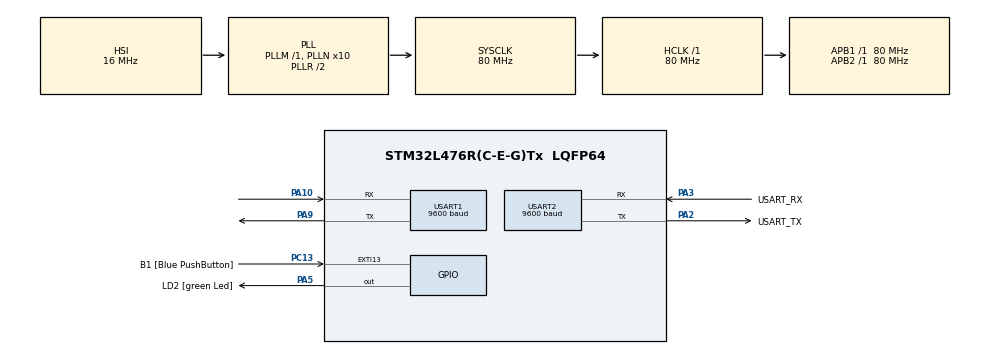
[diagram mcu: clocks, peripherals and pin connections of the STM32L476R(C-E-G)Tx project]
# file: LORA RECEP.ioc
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Mcu.Family=STM32L4
Mcu.Name=STM32L476R(C-E-G)Tx
Mcu.Package=LQFP64
NVIC.PriorityGroup=NVIC_PRIORITYGROUP_4
PA10.Mode=Asynchronous
PA10.Signal=USART1_RX
PA13\ (JTMS-SWDIO).GPIO_Label=TMS
PA13\ (JTMS-SWDIO).Mode=Serial_Wire
PA13\ (JTMS-SWDIO).Signal=SYS_JTMS-SWDIO
PA14\ (JTCK-SWCLK).GPIO_Label=TCK
PA14\ (JTCK-SWCLK).Mode=Serial_Wire
PA14\ (JTCK-SWCLK).Signal=SYS_JTCK-SWCLK
PA2.GPIO_Label=USART_TX
PA2.GPIO_Mode=GPIO_MODE_AF_PP
PA2.GPIO_PuPd=GPIO_NOPULL
PA2.GPIO_Speed=GPIO_SPEED_FREQ_VERY_HIGH
PA2.Mode=Asynchronous
PA2.Signal=USART2_TX
PA3.GPIO_Label=USART_RX
PA3.GPIO_Mode=GPIO_MODE_AF_PP
PA3.GPIO_PuPd=GPIO_NOPULL
PA3.GPIO_Speed=GPIO_SPEED_FREQ_VERY_HIGH
PA3.Mode=Asynchronous
PA3.Signal=USART2_RX
PA5.GPIO_Label=LD2 [green Led]
PA5.GPIO_ModeDefaultOutputPP=GPIO_MODE_OUTPUT_PP
PA5.GPIO_PuPd=GPIO_NOPULL
PA5.GPIO_Speed=GPIO_SPEED_FREQ_LOW
PA5.Signal=GPIO_Output
PA9.Mode=Asynchronous
PA9.Signal=USART1_TX
PB3\ (JTDO-TRACESWO).GPIO_Label=SWO
PB3\ (JTDO-TRACESWO).Signal=SYS_JTDO-SWO
PC13.GPIO_Label=B1 [Blue PushButton]
PC13.GPIO_ModeDefaultEXTI=GPIO_MODE_IT_FALLING
PC13.GPIO_PuPd=GPIO_NOPULL
PC13.Signal=GPXTI13
PC14-OSC32_IN\ (PC14).Mode=LSE-External-Oscillator
PC14-OSC32_IN\ (PC14).Signal=RCC_OSC32_IN
PC15-OSC32_OUT\ (PC15).Mode=LSE-External-Oscillator
PC15-OSC32_OUT\ (PC15).Signal=RCC_OSC32_OUT
PH0-OSC_IN\ (PH0).Signal=RCC_OSC_IN
PH1-OSC_OUT\ (PH1).Signal=RCC_OSC_OUT
ProjectManager.HeapSize=0x200
ProjectManager.StackSize=0x400
ProjectManager.TargetToolchain=STM32CubeIDE
RCC.ADCFreq_Value=64000000
RCC.AHBFreq_Value=80000000
RCC.APB1Freq_Value=80000000
RCC.APB1TimFreq_Value=80000000
RCC.APB2Freq_Value=80000000
RCC.APB2TimFreq_Value=80000000
RCC.CortexFreq_Value=80000000
RCC.HCLKFreq_Value=80000000
RCC.HSE_VALUE=8000000
RCC.HSI_VALUE=16000000
RCC.MSI_VALUE=4000000
RCC.PLLN=10
RCC.PLLSourceVirtual=RCC_PLLSOURCE_HSI
RCC.PREFETCH_ENABLE=1
RCC.SYSCLKFreq_VALUE=80000000
RCC.SYSCLKSource=RCC_SYSCLKSOURCE_PLLCLK
RCC.USBFreq_Value=64000000
RCC.VCOOutputFreq_Value=160000000
USART1.BaudRate=9600
USART1.VirtualMode-Asynchronous=VM_ASYNC
USART2.BaudRate=9600
USART2.VirtualMode-Asynchronous=VM_ASYNC
board=NUCLEO-L476RG

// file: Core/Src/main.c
/* USER CODE BEGIN Header */
/**
  ******************************************************************************
  * @file           : main.c
  * @brief          : Main program body
  ******************************************************************************
  * @attention
  *
  * Copyright (c) 2024 STMicroelectronics.
  * All rights reserved.²
  *
  * This software is licensed under terms that can be found in the LICENSE file
  * in the root directory of this software component.
  * If no LICENSE file comes with this software, it is provided AS-IS.
  *
  ******************************************************************************
  */
/* USER CODE END Header */
#include "main.h"
#include "usart.h"
#include "gpio.h"
#include <string.h>

/* USER CODE BEGIN PTD */

//#define MODE_TRANSMITTER 0
//#define MODE_RECEIVER 1

/* USER CODE END PTD */

void SystemClock_Config(void);

/* USER CODE BEGIN 0 */

char receivedData[1000]; // Pour stocker le caractère reçu

/* USER CODE END 0 */

int main(void)
{

  /* MCU Configuration--------------------------------------------------------*/

  /* Reset of all peripherals, Initializes the Flash interface and the Systick. */
  HAL_Init();

  /* Configure the system clock */
  SystemClock_Config();

  /* Initialize all configured peripherals */
  MX_GPIO_Init();
  MX_USART2_UART_Init();
  MX_USART1_UART_Init();
  /* USER CODE BEGIN 2 */
/*
  // Transmit command to LoRa module
  	  HAL_UART_Transmit(&huart1, (uint8_t*)dataToSend, strlen(dataToSend), 1000);

     // Wait for response from LoRa module
     HAL_UART_Receive(&huart1, (uint8_t*)receivedData, sizeof(receivedData), 1000);

*/

  // Transmit command at to LoRa module
         char dataToSend[] = "AT\r"; // Tableau d'octets à envoyer

  	   	  HAL_UART_Transmit(&huart1, (uint8_t*)dataToSend, strlen(dataToSend), 1000);
  	  // Attente de la réponse à la première commande
  	     HAL_UART_Receive(&huart1, (uint8_t*)receivedData, sizeof(receivedData), 1000);

  	     // Transmission de la réponse reçue à une autre UART (si nécessaire)
  	     HAL_UART_Transmit(&huart2, (uint8_t*)receivedData, strlen(receivedData), 1000);

  	  /*   // Envoi de la deuxième commande "AT+ID"
  	     char secondCommand[] = "AT+ID\r";
  	     HAL_UART_Transmit(&huart1, (uint8_t*)secondCommand, strlen(secondCommand), 1000);

  	     // Attente de la réponse à la deuxième commande (si nécessaire)
  	     HAL_UART_Receive(&huart1, (uint8_t*)receivedData, sizeof(receivedData), 1000);
  	   // Transmission de la réponse reçue à une autre UART (si nécessaire)
  	     HAL_UART_Transmit(&huart2, (uint8_t*)receivedData, strlen(receivedData), 1000);

*/
  	   // Envoi de la 3ème commande "AT+MODE"
  	    char thirdCommand[] = "AT+MODE=TEST\r";
  	    HAL_UART_Transmit(&huart1, (uint8_t*)thirdCommand, strlen(thirdCommand), 1000);

  	    // Attente de la réponse à la 3ième commande (si nécessaire)
  	    HAL_UART_Receive(&huart1, (uint8_t*)receivedData, sizeof(receivedData), 1000);
  	    // Transmission de la réponse reçue à une autre UART (si nécessaire)
  	    HAL_UART_Transmit(&huart2, (uint8_t*)receivedData, strlen(receivedData), 1000);

  	  // Envoi de la 4ème commande "AT+MODE"
  	    char fourthCommand[] = "AT+TEST=RXLRPKT\r";
  	    HAL_UART_Transmit(&huart1, (uint8_t*)fourthCommand, strlen(fourthCommand), 1000);

  	   // Attente de la réponse à la 3ième commande (si nécessaire)
  	    HAL_UART_Receive(&huart1, (uint8_t*)receivedData, sizeof(receivedData), 1000);
  	    // Transmission de la réponse reçue à une autre UART (si nécessaire)
  	    HAL_UART_Transmit(&huart2, (uint8_t*)receivedData, strlen(receivedData), 1000);

  /* USER CODE END 2 */

  /* Infinite loop */
  /* USER CODE BEGIN WHILE */
  while (1)
  {
	  // Réception des données
	     HAL_UART_Receive(&huart1, (uint8_t*)receivedData, sizeof(receivedData), HAL_MAX_DELAY);

	     // Traitement des données reçues (vous pouvez afficher les données reçues ou les traiter selon votre application)
	     // Par exemple, afficher les données reçues sur l'UART 2
	     HAL_UART_Transmit(&huart2, (uint8_t*)receivedData, strlen(receivedData), HAL_MAX_DELAY);
	  /* USER CODE END WHILE */

  }
}

void SystemClock_Config(void)
{
  RCC_OscInitTypeDef RCC_OscInitStruct = {0};
  RCC_ClkInitTypeDef RCC_ClkInitStruct = {0};

  /** Configure the main internal regulator output voltage
  */
  if (HAL_PWREx_ControlVoltageScaling(PWR_REGULATOR_VOLTAGE_SCALE1) != HAL_OK)
  {
    Error_Handler();
  }

  /** Initializes the RCC Oscillators according to the specified parameters
  * in the RCC_OscInitTypeDef structure.
  */
  RCC_OscInitStruct.OscillatorType = RCC_OSCILLATORTYPE_HSI;
  RCC_OscInitStruct.HSIState = RCC_HSI_ON;
  RCC_OscInitStruct.HSICalibrationValue = RCC_HSICALIBRATION_DEFAULT;
  RCC_OscInitStruct.PLL.PLLState = RCC_PLL_ON;
  RCC_OscInitStruct.PLL.PLLSource = RCC_PLLSOURCE_HSI;
  RCC_OscInitStruct.PLL.PLLM = 1;
  RCC_OscInitStruct.PLL.PLLN = 10;
  RCC_OscInitStruct.PLL.PLLP = RCC_PLLP_DIV7;
  RCC_OscInitStruct.PLL.PLLQ = RCC_PLLQ_DIV2;
  RCC_OscInitStruct.PLL.PLLR = RCC_PLLR_DIV2;
  if (HAL_RCC_OscConfig(&RCC_OscInitStruct) != HAL_OK)
  {
    Error_Handler();
  }

  /** Initializes the CPU, AHB and APB buses clocks
  */
  RCC_ClkInitStruct.ClockType = RCC_CLOCKTYPE_HCLK|RCC_CLOCKTYPE_SYSCLK
                              |RCC_CLOCKTYPE_PCLK1|RCC_CLOCKTYPE_PCLK2;
  RCC_ClkInitStruct.SYSCLKSource = RCC_SYSCLKSOURCE_PLLCLK;
  RCC_ClkInitStruct.AHBCLKDivider = RCC_SYSCLK_DIV1;
  RCC_ClkInitStruct.APB1CLKDivider = RCC_HCLK_DIV1;
  RCC_ClkInitStruct.APB2CLKDivider = RCC_HCLK_DIV1;

  if (HAL_RCC_ClockConfig(&RCC_ClkInitStruct, FLASH_LATENCY_4) != HAL_OK)
  {
    Error_Handler();
  }
}

void Error_Handler(void)
{
  __disable_irq();
  while (1)
  {
  }
}
